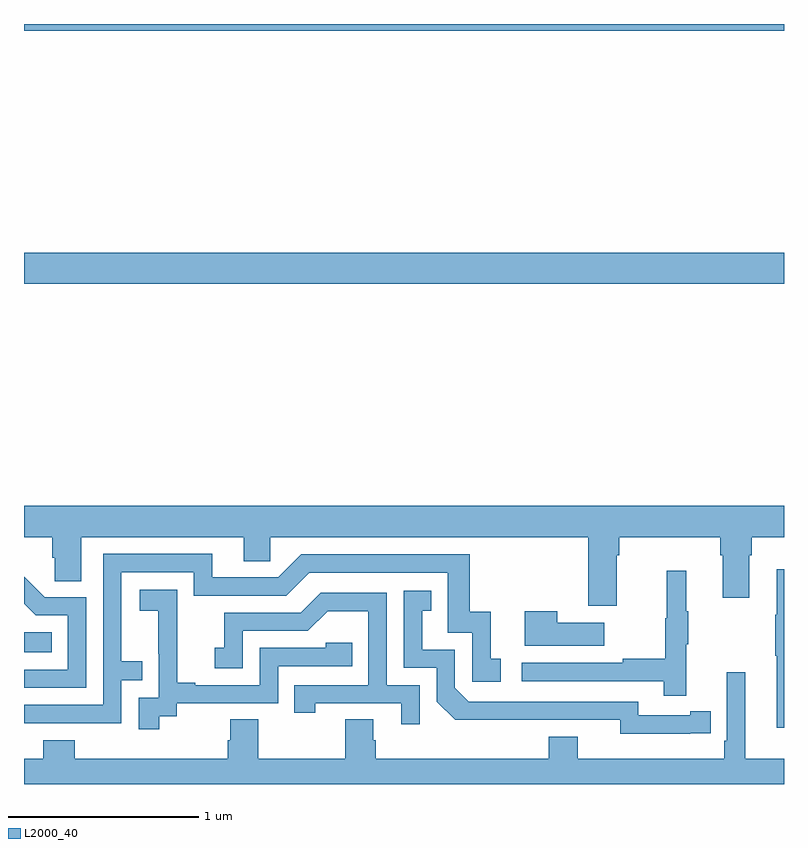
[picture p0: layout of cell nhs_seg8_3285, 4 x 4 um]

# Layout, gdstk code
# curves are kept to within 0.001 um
import gdstk
lib = gdstk.Library(unit=1e-6, precision=1e-09)
def R(c, l, rs):  # rectangles x0, y0, x1, y1
    for r in rs: c.add(gdstk.rectangle(r[:2], r[2:], *l))
def P(c, l, *ps):  # polygons
    for p in ps: c.add(gdstk.Polygon(p, *l))
L2000_40 = (2000, 40)

nhs_seg8_3285 = lib.new_cell('nhs_seg8_3285')
R(nhs_seg8_3285, L2000_40, [(315,1082.594,315.146,1082.698), (315,1084.532,319,1084.696), (315,1085.864,319,1085.9)])
P(nhs_seg8_3285, L2000_40, [(318.121,1083.104),(318.134,1083.104),(318.134,1083.2),(318.665,1083.2),(318.665,1083.104),(318.677,1083.104),(318.677,1082.88),(318.817,1082.88),(318.817,1083.104),(318.83,1083.104),(318.83,1083.2),(319,1083.2),(319,1083.364),(315,1083.364),(315,1083.2),(315.149,1083.2),(315.149,1083.091),(315.162,1083.091),(315.162,1082.968),(315.301,1082.968),(315.301,1083.2),(316.157,1083.2),(316.157,1083.073),(316.296,1083.073),(316.296,1083.2),(317.969,1083.2),(317.969,1082.838),(318.121,1082.838)],
  [(315.017,1082.22),(315.513,1082.22),(315.513,1082.445),(315.623,1082.445),(315.623,1082.546),(315.513,1082.546),(315.513,1083.015),(315.894,1083.015),(315.894,1082.892),(316.38,1082.892),(316.5,1083.012),(317.229,1083.012),(317.229,1082.697),(317.358,1082.697),(317.358,1082.439),(317.509,1082.439),(317.509,1082.559),(317.456,1082.559),(317.456,1082.806),(317.345,1082.806),(317.345,1083.108),(316.458,1083.108),(316.338,1082.988),(315.991,1082.988),(315.991,1083.111),(315.417,1083.111),(315.417,1082.316),(315,1082.316),(315,1082.219)],
  [(319,1083.031),(318.962,1083.031),(318.962,1082.792),(318.955,1082.792),(318.955,1082.575),(318.962,1082.575),(318.962,1082.196),(319,1082.196)],
  [(318.485,1082.635),(318.496,1082.635),(318.496,1082.809),(318.485,1082.809),(318.485,1083.022),(318.382,1083.022),(318.382,1082.772),(318.375,1082.772),(318.375,1082.558),(318.151,1082.558),(318.151,1082.538),(317.619,1082.538),(317.619,1082.442),(318.367,1082.442),(318.367,1082.364),(318.485,1082.364)],
  [(315.327,1082.883),(315.108,1082.883),(315,1082.991),(315,1082.849),(315.062,1082.787),(315.231,1082.787),(315.231,1082.502),(315,1082.502),(315,1082.406),(315.327,1082.406)],
  [(315.712,1082.257),(315.804,1082.257),(315.804,1082.325),(316.338,1082.325),(316.338,1082.52),(316.727,1082.52),(316.727,1082.643),(316.587,1082.643),(316.587,1082.616),(316.242,1082.616),(316.242,1082.421),(315.901,1082.421),(315.901,1082.434),(315.806,1082.434),(315.806,1082.717),(315.807,1082.717),(315.807,1082.923),(315.609,1082.923),(315.609,1082.813),(315.707,1082.813),(315.707,1082.585),(315.708,1082.585),(315.708,1082.355),(315.603,1082.355),(315.603,1082.187),(315.712,1082.187)],
  [(318.506,1082.166),(318.614,1082.166),(318.614,1082.282),(318.506,1082.282),(318.506,1082.262),(318.234,1082.262),(318.234,1082.334),(317.34,1082.334),(317.268,1082.406),(317.268,1082.607),(317.095,1082.607),(317.095,1082.811),(317.144,1082.811),(317.144,1082.917),(316.998,1082.917),(316.998,1082.511),(317.172,1082.511),(317.172,1082.334),(317.27,1082.237),(318.138,1082.238),(318.138,1082.165)],
  [(317.082,1082.421),(316.908,1082.421),(316.908,1082.907),(316.562,1082.907),(316.457,1082.802),(316.054,1082.802),(316.054,1082.617),(316.005,1082.617),(316.005,1082.508),(316.152,1082.508),(316.152,1082.706),(316.494,1082.706),(316.598,1082.81),(316.812,1082.81),(316.812,1082.421),(316.423,1082.421),(316.423,1082.274),(316.534,1082.274),(316.534,1082.325),(316.985,1082.325),(316.985,1082.214),(317.082,1082.214)],
  [(318.055,1082.749),(317.807,1082.749),(317.807,1082.809),(317.636,1082.809),(317.636,1082.627),(318.055,1082.627)],
  [(319,1082.032),(318.796,1082.032),(318.796,1082.488),(318.699,1082.488),(318.699,1082.128),(318.686,1082.128),(318.686,1082.032),(317.914,1082.032),(317.914,1082.149),(317.762,1082.149),(317.762,1082.032),(316.85,1082.032),(316.85,1082.13),(316.837,1082.13),(316.837,1082.24),(316.69,1082.24),(316.69,1082.032),(316.233,1082.032),(316.233,1082.24),(316.085,1082.24),(316.085,1082.13),(316.073,1082.13),(316.073,1082.032),(315.266,1082.032),(315.266,1082.131),(315.101,1082.131),(315.101,1082.032),(315,1082.032),(315,1081.9),(319,1081.9)])

lib.write_gds('nhs_seg8_3285.gds')
